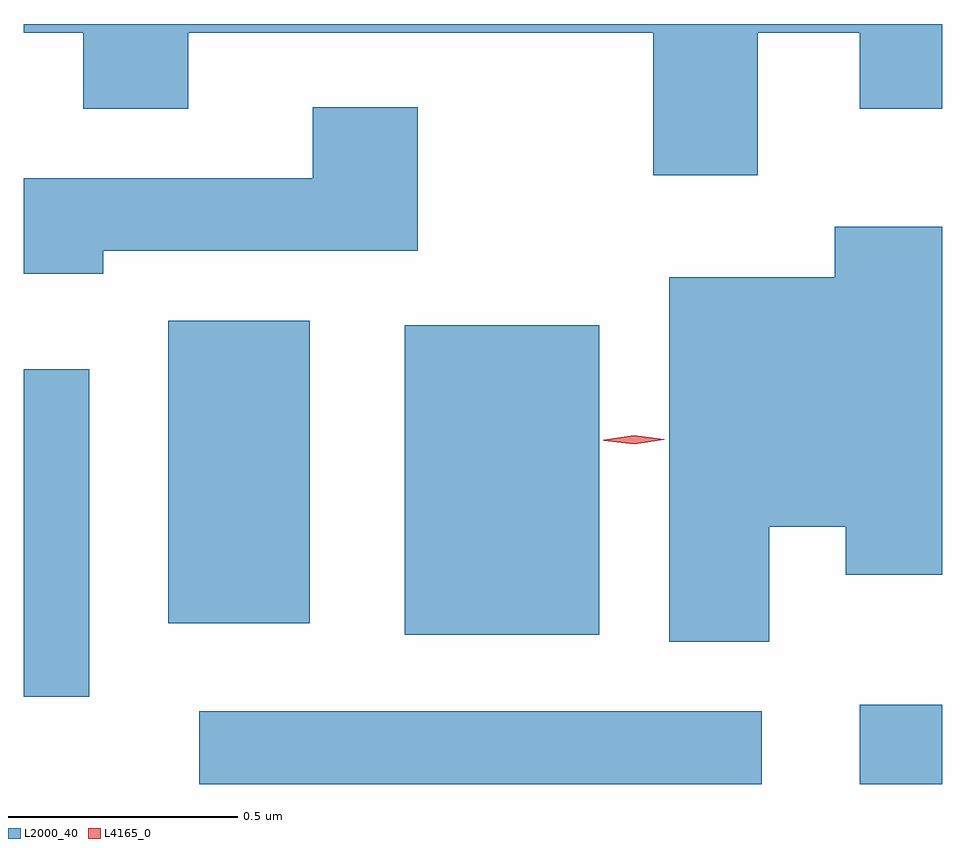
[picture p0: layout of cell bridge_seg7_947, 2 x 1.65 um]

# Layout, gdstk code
import gdstk
lib = gdstk.Library(unit=1e-6, precision=1e-09)
def R(c, l, rs):  # rectangles x0, y0, x1, y1
    for r in rs: c.add(gdstk.rectangle(r[:2], r[2:], *l))
def P(c, l, *ps):  # polygons
    for p in ps: c.add(gdstk.Polygon(p, *l))
L2000_40 = (2000, 40)
L4165_0 = (4165, 0)

bridge_seg7_947 = lib.new_cell('bridge_seg7_947')
R(bridge_seg7_947, L2000_40, [(459.563,1668.281,460.788,1668.439), (461.001,1668.281,461.181,1668.454), (459.181,1668.471,459.324,1669.184), (460.011,1668.606,460.434,1669.279), (459.496,1668.631,459.804,1669.289)])
P(bridge_seg7_947, L2000_40, [(460.779,1669.916),(461.001,1669.916),(461.001,1669.751),(461.181,1669.751),(461.181,1669.935),(459.181,1669.935),(459.181,1669.916),(459.311,1669.916),(459.311,1669.751),(459.539,1669.751),(459.539,1669.916),(460.551,1669.916),(460.551,1669.606),(460.779,1669.606)],
  [(459.354,1669.441),(460.039,1669.441),(460.039,1669.754),(459.811,1669.754),(459.811,1669.599),(459.181,1669.599),(459.181,1669.391),(459.354,1669.391)],
  [(460.804,1668.841),(460.971,1668.841),(460.971,1668.736),(461.181,1668.736),(461.181,1669.494),(460.946,1669.494),(460.946,1669.384),(460.586,1669.384),(460.586,1668.591),(460.804,1668.591)])
P(bridge_seg7_947, L4165_0, [(460.51,1669.02),(460.444,1669.028),(460.444,1669.029),(460.444,1669.03),(460.51,1669.04),(460.576,1669.031),(460.576,1669.03),(460.576,1669.03)])

lib.write_gds('bridge_seg7_947.gds')
